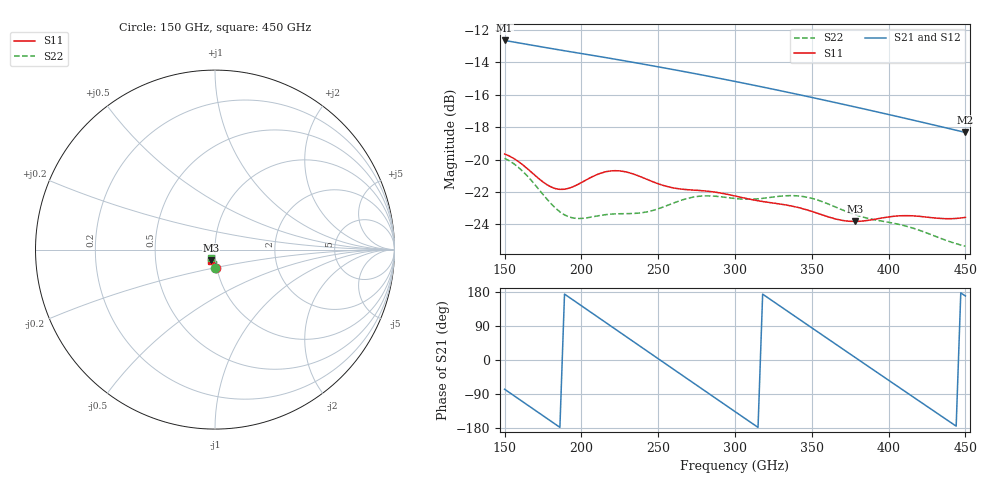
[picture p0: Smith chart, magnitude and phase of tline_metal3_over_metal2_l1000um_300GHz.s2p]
#  GHZ S DB R 50
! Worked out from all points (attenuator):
!   101 points, 150 GHz to 450 GHz, reference 50 ohm
!   highest |S21| = -12.64 dB at 150 GHz (marker M1); lowest = -18.3 dB at 450 GHz (marker M2)
!   lowest |S11| = -23.8 dB at 378 GHz (marker M3), VSWR 1.14, Z = 47.5 - j5.75 ohm
!   |S11| at or under -10 dB: start of sweep to end of sweep
!   |S22| runs from -25.4 to -19.9 dB; largest |S21 - S12| = 1.5e-13
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150  -19.65 -88.2  -12.64 -77.1  -12.64 -77.1  -19.93 -88.6
162  -20.34 -91.9  -12.84 -110.7  -12.84 -110.7  -20.74 -93.7
177  -21.52 -91.5  -13.08 -152.6  -13.08 -152.6  -22.38 -95.4
189  -21.84 -87.1  -13.28 173.9  -13.28 173.9  -23.42 -91.1
201  -21.37 -85.0  -13.46 140.4  -13.46 140.4  -23.63 -85.9
213  -20.83 -87.7  -13.65 106.8  -13.65 106.8  -23.44 -83.8
225  -20.70 -92.8  -13.85 73.3  -13.85 73.3  -23.35 -83.5
240  -21.12 -98.2  -14.10 31.3  -14.10 31.3  -23.28 -82.8
252  -21.56 -100.2  -14.30 -2.2  -14.30 -2.2  -22.98 -82.4
264  -21.81 -101.0  -14.51 -35.7  -14.51 -35.7  -22.55 -83.9
276  -21.91 -102.4  -14.73 -69.2  -14.73 -69.2  -22.28 -87.4
288  -22.03 -104.5  -14.95 -102.7  -14.95 -102.7  -22.27 -91.0
300  -22.25 -106.5  -15.17 -136.1  -15.17 -136.1  -22.41 -93.6
321  -22.64 -108.7  -15.58 165.4  -15.58 165.4  -22.36 -96.8
336  -22.86 -110.5  -15.88 123.7  -15.88 123.7  -22.23 -101.2
351  -23.24 -112.2  -16.18 82.1  -16.18 82.1  -22.42 -106.7
366  -23.68 -111.9  -16.49 40.6  -16.49 40.6  -22.96 -110.9
378  -23.83 -110.4  -16.75 7.4  -16.75 7.4  -23.40 -112.5
402  -23.52 -109.8  -17.26 -58.9  -17.26 -58.9  -23.91 -114.7
423  -23.54 -111.9  -17.72 -116.8  -17.72 -116.8  -24.47 -117.6
438  -23.66 -111.9  -18.05 -158.1  -18.05 -158.1  -25.01 -118.1
450  -23.57 -111.3  -18.32 168.9  -18.32 168.9  -25.35 -117.5
